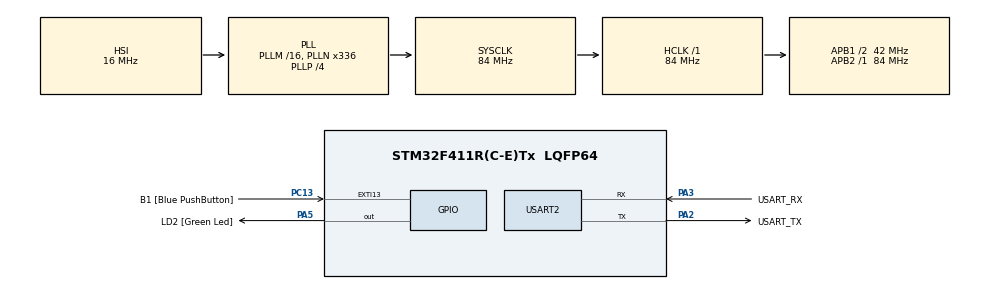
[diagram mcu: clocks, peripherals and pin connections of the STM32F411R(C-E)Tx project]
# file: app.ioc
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Mcu.Family=STM32F4
PC15-OSC32_OUT.Mode=LSE-External-Oscillator
RCC.CortexFreq_Value=84000000
PC13-ANTI_TAMP.GPIO_Label=B1 [Blue PushButton]
PA14.GPIO_Label=TCK
PH1\ -\ OSC_OUT.Mode=HSE-External-Clock-Source
RCC.APB1CLKDivider=RCC_HCLK_DIV2
PC14-OSC32_IN.Signal=RCC_OSC32_IN
RCC.SYSCLKSource=RCC_SYSCLKSOURCE_PLLCLK
ProjectManager.StackSize=0x400
PA13.Signal=SYS_JTMS-SWDIO
PA3.Mode=Asynchronous
PH0\ -\ OSC_IN.Mode=HSE-External-Clock-Source
PH0\ -\ OSC_IN.Signal=RCC_OSC_IN
ProjectManager.TargetToolchain=STM32CubeIDE
RCC.HCLKFreq_Value=84000000
RCC.APB2TimFreq_Value=84000000
PC15-OSC32_OUT.Signal=RCC_OSC32_OUT
RCC.AHBFreq_Value=84000000
PA5.Signal=GPIO_Output
RCC.HSE_VALUE=8000000
PH1\ -\ OSC_OUT.Signal=RCC_OSC_OUT
board=NUCLEO-F411RE
PC13-ANTI_TAMP.Signal=GPXTI13
RCC.VCOOutputFreq_Value=336000000
RCC.APB2Freq_Value=84000000
PC14-OSC32_IN.Mode=LSE-External-Oscillator
PA14.Mode=Serial_Wire
PA13.Mode=Serial_Wire
Mcu.Name=STM32F411R(C-E)Tx
PA2.Signal=USART2_TX
PA13.GPIO_Label=TMS
RCC.FLatency-AdvancedSettings=FLASH_LATENCY_2
RCC.48MHZClocksFreq_Value=84000000
PB3.Signal=SYS_JTDO-SWO
RCC.SYSCLKFreq_VALUE=84000000
Mcu.Package=LQFP64
PA5.GPIO_Label=LD2 [Green Led]
USART2.VirtualMode=VM_ASYNC
PC13-ANTI_TAMP.GPIO_ModeDefaultEXTI=GPIO_MODE_IT_FALLING
PA2.GPIO_Label=USART_TX
PA14.Signal=SYS_JTCK-SWCLK
ProjectManager.HeapSize=0x200
RCC.HSI_VALUE=16000000
RCC.PLLP=RCC_PLLP_DIV4
NVIC.PriorityGroup=NVIC_PRIORITYGROUP_0
RCC.PLLN=336
RCC.APB1TimFreq_Value=84000000
PA2.Mode=Asynchronous
RCC.APB1Freq_Value=42000000
PA3.GPIO_Label=USART_RX
PA3.Signal=USART2_RX
PB3.GPIO_Label=SWO

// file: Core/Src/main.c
/* USER CODE BEGIN Header */
/**
  ******************************************************************************
  * @file           : main.c
  * @brief          : Main program body
  ******************************************************************************
  * @attention
  *
  * <h2><center>&copy; Copyright (c) 2026 STMicroelectronics.
  * All rights reserved.</center></h2>
  *
  * This software component is licensed by ST under BSD 3-Clause license,
  * the "License"; You may not use this file except in compliance with the
  * License. You may obtain a copy of the License at:
  *                        opensource.org/licenses/BSD-3-Clause
  *
  ******************************************************************************
  */
/* USER CODE END Header */
#include "main.h"

/* USER CODE BEGIN Includes */
#include "uart.h"   // Custom UART helpers
/* USER CODE END Includes */

UART_HandleTypeDef huart2;

/* USER CODE BEGIN PV */
uint8_t buffer[] = "App Started! Waiting for commands J or H...\r\n";
uint8_t Serial_CMD = 0;
/* USER CODE END PV */

void SystemClock_Config(void);
static void MX_GPIO_Init(void);
static void MX_USART2_UART_Init(void);
void LED_Toggle(void);

int main(void)
{

  /* MCU Configuration--------------------------------------------------------*/

  /* Reset of all peripherals, Initializes the Flash interface and the Systick. */
  HAL_Init();

  /* Configure the system clock */
  SystemClock_Config();

  /* Initialize all configured peripherals */
  MX_GPIO_Init();
  MX_USART2_UART_Init();
  /* USER CODE BEGIN 2 */
  UART_SendString(&huart2, buffer);
  UART_ReceiveByte(&huart2, &Serial_CMD);
  /* USER CODE END 2 */

  /* Infinite loop */
  /* USER CODE BEGIN WHILE */
  while (1)
  {
      /* Check UART for commands */
	  if (UART_ReceiveByte(&huart2, &Serial_CMD) == UART_OK)

      {
          switch (Serial_CMD)
          {
              case 'J': // Jump back to bootloader
            	  UART_SendString(&huart2, (uint8_t*)"Jumping to Bootloader...\r\n");
                  NVIC_SystemReset();
                  break;

              case 'H': // Example: toggle LED
                  LED_Toggle();
                  UART_SendString(&huart2, (uint8_t*)"LED toggled!\r\n");
                  break;

              default:
            	  UART_SendString(&huart2, (uint8_t*)"Unknown command!\r\n");
                  break;
          }
      }

    /* USER CODE END WHILE */

  }
}

void SystemClock_Config(void)
{
  RCC_OscInitTypeDef RCC_OscInitStruct = {0};
  RCC_ClkInitTypeDef RCC_ClkInitStruct = {0};

  /** Configure the main internal regulator output voltage
  */
  __HAL_RCC_PWR_CLK_ENABLE();
  __HAL_PWR_VOLTAGESCALING_CONFIG(PWR_REGULATOR_VOLTAGE_SCALE1);
  /** Initializes the RCC Oscillators according to the specified parameters
  * in the RCC_OscInitTypeDef structure.
  */
  RCC_OscInitStruct.OscillatorType = RCC_OSCILLATORTYPE_HSI;
  RCC_OscInitStruct.HSIState = RCC_HSI_ON;
  RCC_OscInitStruct.HSICalibrationValue = RCC_HSICALIBRATION_DEFAULT;
  RCC_OscInitStruct.PLL.PLLState = RCC_PLL_ON;
  RCC_OscInitStruct.PLL.PLLSource = RCC_PLLSOURCE_HSI;
  RCC_OscInitStruct.PLL.PLLM = 16;
  RCC_OscInitStruct.PLL.PLLN = 336;
  RCC_OscInitStruct.PLL.PLLP = RCC_PLLP_DIV4;
  RCC_OscInitStruct.PLL.PLLQ = 4;
  if (HAL_RCC_OscConfig(&RCC_OscInitStruct) != HAL_OK)
  {
    Error_Handler();
  }
  /** Initializes the CPU, AHB and APB buses clocks
  */
  RCC_ClkInitStruct.ClockType = RCC_CLOCKTYPE_HCLK|RCC_CLOCKTYPE_SYSCLK
                              |RCC_CLOCKTYPE_PCLK1|RCC_CLOCKTYPE_PCLK2;
  RCC_ClkInitStruct.SYSCLKSource = RCC_SYSCLKSOURCE_PLLCLK;
  RCC_ClkInitStruct.AHBCLKDivider = RCC_SYSCLK_DIV1;
  RCC_ClkInitStruct.APB1CLKDivider = RCC_HCLK_DIV2;
  RCC_ClkInitStruct.APB2CLKDivider = RCC_HCLK_DIV1;

  if (HAL_RCC_ClockConfig(&RCC_ClkInitStruct, FLASH_LATENCY_2) != HAL_OK)
  {
    Error_Handler();
  }
}

static void MX_USART2_UART_Init(void)
{

  huart2.Instance = USART2;
  huart2.Init.BaudRate = 115200;
  huart2.Init.WordLength = UART_WORDLENGTH_8B;
  huart2.Init.StopBits = UART_STOPBITS_1;
  huart2.Init.Parity = UART_PARITY_NONE;
  huart2.Init.Mode = UART_MODE_TX_RX;
  huart2.Init.HwFlowCtl = UART_HWCONTROL_NONE;
  huart2.Init.OverSampling = UART_OVERSAMPLING_16;
  if (HAL_UART_Init(&huart2) != HAL_OK)
  {
    Error_Handler();
  }

}

static void MX_GPIO_Init(void)
{
  GPIO_InitTypeDef GPIO_InitStruct = {0};

  /* GPIO Ports Clock Enable */
  __HAL_RCC_GPIOC_CLK_ENABLE();
  __HAL_RCC_GPIOH_CLK_ENABLE();
  __HAL_RCC_GPIOA_CLK_ENABLE();
  __HAL_RCC_GPIOB_CLK_ENABLE();

  /*Configure GPIO pin Output Level */
  HAL_GPIO_WritePin(LD2_GPIO_Port, LD2_Pin, GPIO_PIN_RESET);

  /*Configure GPIO pin : B1_Pin */
  GPIO_InitStruct.Pin = B1_Pin;
  GPIO_InitStruct.Mode = GPIO_MODE_IT_FALLING;
  GPIO_InitStruct.Pull = GPIO_NOPULL;
  HAL_GPIO_Init(B1_GPIO_Port, &GPIO_InitStruct);

  /*Configure GPIO pin : LD2_Pin */
  GPIO_InitStruct.Pin = LD2_Pin;
  GPIO_InitStruct.Mode = GPIO_MODE_OUTPUT_PP;
  GPIO_InitStruct.Pull = GPIO_NOPULL;
  GPIO_InitStruct.Speed = GPIO_SPEED_FREQ_LOW;
  HAL_GPIO_Init(LD2_GPIO_Port, &GPIO_InitStruct);

}

/* USER CODE BEGIN 4 */
void LED_Toggle(void)
{
    HAL_GPIO_TogglePin(LD2_GPIO_Port, LD2_Pin);
}
/* USER CODE END 4 */

void Error_Handler(void)
{
  __disable_irq();
  while (1)
  {
  }
}

/************************ (C) COPYRIGHT STMicroelectronics *****END OF FILE****/
